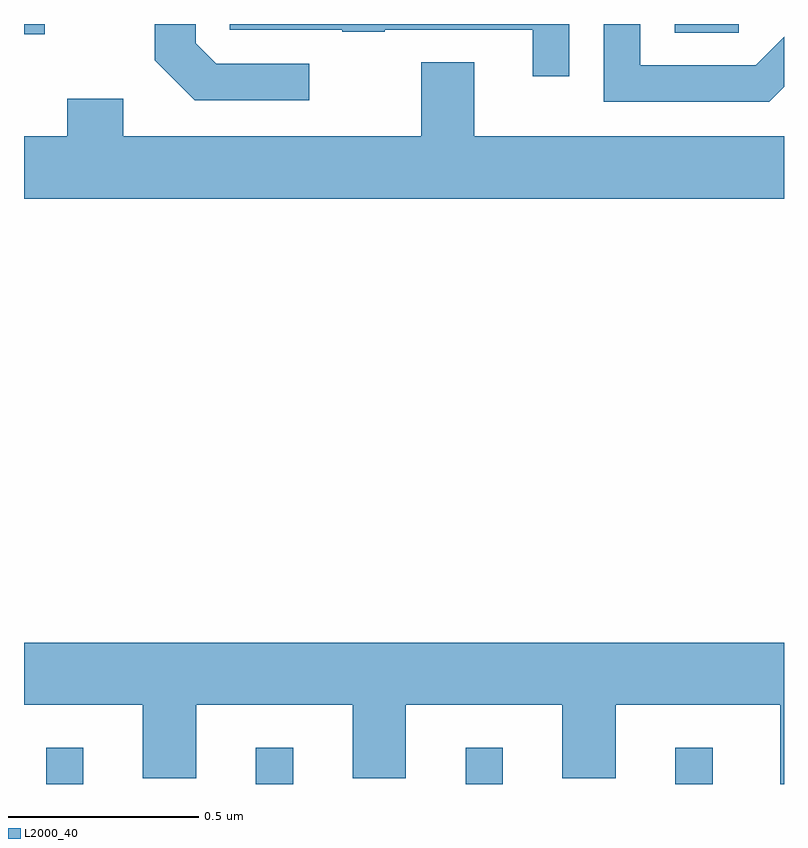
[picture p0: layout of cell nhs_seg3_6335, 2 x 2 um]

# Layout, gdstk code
import gdstk
lib = gdstk.Library(unit=1e-6, precision=1e-09)
def R(c, l, rs):  # rectangles x0, y0, x1, y1
    for r in rs: c.add(gdstk.rectangle(r[:2], r[2:], *l))
def A(c, l, x, y, w, h, nx, ny, dx, dy):  # array of equal rectangles
    R(c, l, [(x+i*dx, y+j*dy, x+i*dx+w, y+j*dy+h) for i in range(nx) for j in range(ny)])
def P(c, l, *ps):  # polygons
    for p in ps: c.add(gdstk.Polygon(p, *l))
L2000_40 = (2000, 40)

nhs_seg3_6335 = lib.new_cell('nhs_seg3_6335')
A(nhs_seg3_6335, L2000_40, 190.058, 675.4, 0.098, 0.096, 3, 1, 0.552, 0)
R(nhs_seg3_6335, L2000_40, [(191.714,675.4,191.813,675.496), (190,677.373,190.054,677.4), (191.712,677.377,191.881,677.4)])
P(nhs_seg3_6335, L2000_40, [(192,677.235),(192,677.367),(191.925,677.292),(191.622,677.292),(191.622,677.4),(191.526,677.4),(191.526,677.196),(191.961,677.196)],
  [(191.435,677.4),(190.542,677.4),(190.542,677.385),(190.837,677.385),(190.837,677.38),(190.949,677.38),(190.949,677.385),(191.339,677.385),(191.339,677.262),(191.435,677.262)],
  [(190.75,677.295),(190.506,677.295),(190.452,677.349),(190.452,677.4),(190.344,677.4),(190.344,677.305),(190.449,677.199),(190.75,677.199)],
  [(192,677.104),(191.185,677.104),(191.185,677.299),(191.045,677.299),(191.045,677.104),(190.261,677.104),(190.261,677.203),(190.114,677.203),(190.114,677.104),(190,677.104),(190,676.94),(192,676.94)],
  [(192,675.772),(190,675.772),(190,675.608),(190.313,675.608),(190.313,675.415),(190.453,675.415),(190.453,675.608),(190.865,675.608),(190.865,675.415),(191.005,675.415),(191.005,675.608),(191.417,675.608),(191.417,675.415),(191.557,675.415),(191.557,675.608),(191.99,675.608),(191.99,675.4),(192,675.4)])

lib.write_gds('nhs_seg3_6335.gds')
